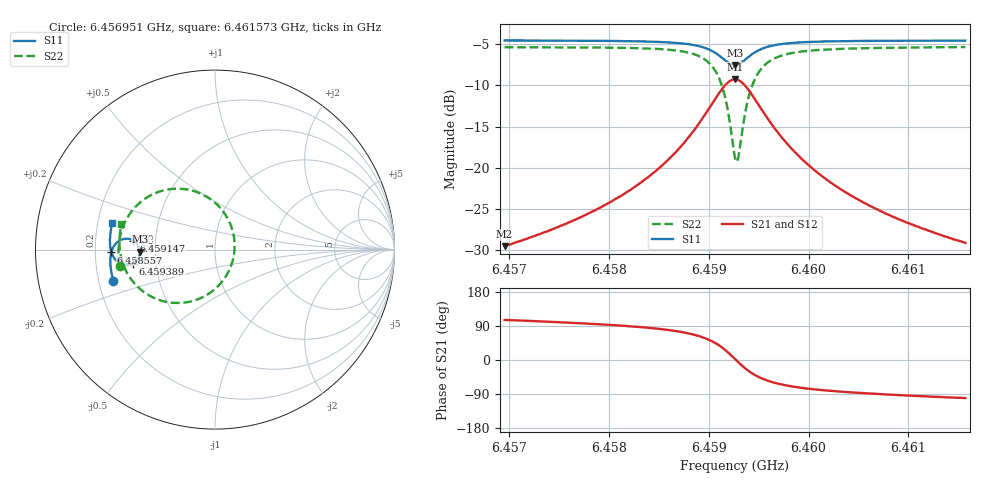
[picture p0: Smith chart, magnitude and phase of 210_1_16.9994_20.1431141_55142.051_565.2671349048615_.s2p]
#  HZ  S  RI  R  50.00
! Rohde & Schwarz Vector Network Analyzer
! Rohde-Schwarz,ZNB20-2Port,1311601062101988,3.16
! Created: UTC 3/20/2024, 11:01:25 PM
! freq[Hz]  re:S11  im:S11  re:S21  im:S21  re:S12  im:S12  re:S22  im:S22
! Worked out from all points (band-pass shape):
!   401 points, 6.456951 GHz to 6.461573 GHz, reference 50 ohm
!   highest |S21| = -9.26 dB at 6.459262 GHz (marker M1); lowest = -29.5 dB at 6.456951 GHz (marker M2)
!   |S21| within 3 dB of the highest: 6.459031 GHz to 6.459493 GHz (462.4 kHz wide, 0.00716 % of centre)
!   lowest |S11| = -7.6 dB at 6.459262 GHz (marker M3), VSWR 2.44, Z = 20.5 - j0.609 ohm
!   |S11| at or under -10 dB: nowhere
!   |S22| runs from -19.3 to -5.4 dB; largest |S21 - S12| = 0.014
!   S11 on the Smith chart (normalised r, x): 6.456951 GHz: 0.26, -0.14; 6.458557 GHz: 0.27, -0.01; 6.459147 GHz: 0.37, +0.05; 6.459389 GHz: 0.37, -0.07; 6.461573 GHz: 0.26, +0.12
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6.4569509e9  -0.5657 -0.1753  -0.00906 0.0322  -0.00732 0.0323  -0.531 -0.0903
6.4577252e9  -0.5801 -0.1078  -0.00598 0.0501  -0.0034 0.0496  -0.5373 -2.21e-05
6.4581412e9  -0.5832 -0.0663  -0.000428 0.069  0.00277 0.0677  -0.5302 0.0655
6.4584994e9  -0.5796 -0.0237  0.0136 0.0985  0.0175 0.0958  -0.5051 0.1455
6.4585572e9  -0.5779 -0.0159  0.0178 0.1053  0.022 0.1023  -0.4969 0.1622
6.4587652e9  -0.565 0.0163  0.0452 0.1379  0.0492 0.133  -0.446 0.235
6.4589154e9  -0.5426 0.0427  0.0901 0.1685  0.0934 0.1618  -0.3633 0.3
6.4590541e9  -0.4989 0.0606  0.1769 0.1852  0.1781 0.178  -0.2047 0.3394
6.4591466e9  -0.4544 0.0505  0.2666 0.1547  0.2671 0.1487  -0.0385 0.29
6.4592159e9  -0.4253 0.0186  0.3274 0.0833  0.3294 0.0778  0.0769 0.1615
6.4592621e9  -0.4184 -0.0123  0.3438 0.0156  0.3474 0.00852  0.1091 0.0353
6.4592737e9  -0.4188 -0.0202  0.3437 -0.00211  0.3475 -0.00976  0.1089 0.00193
6.4592968e9  -0.4223 -0.0359  0.3381 -0.0367  0.3419 -0.0457  0.0982 -0.0635
6.459343e9  -0.4377 -0.0618  0.31 -0.0963  0.3122 -0.1082  0.0413 -0.1761
6.4593892e9  -0.4596 -0.0779  0.2683 -0.1374  0.2675 -0.1504  -0.0427 -0.2509
6.4594817e9  -0.5029 -0.0848  0.1841 -0.1687  0.1781 -0.1802  -0.2105 -0.2973
6.4596319e9  -0.5467 -0.0645  0.0965 -0.1553  0.0882 -0.1616  -0.3772 -0.2492
6.4598053e9  -0.5691 -0.0352  0.0496 -0.1259  0.0423 -0.1287  -0.4613 -0.1733
6.4600364e9  -0.5811 -0.0014  0.0227 -0.0967  0.0169 -0.0973  -0.5058 -0.0959
6.4604177e9  -0.5858 0.0433  0.00561 -0.0681  0.00172 -0.0676  -0.5287 -0.0107
6.4608106e9  -0.5838 0.0825  -0.00119 -0.0517  -0.00402 -0.0509  -0.5323 0.0509
6.4615733e9  -0.5718 0.15  -0.00633 -0.0344  -0.00803 -0.0336  -0.5212 0.141
